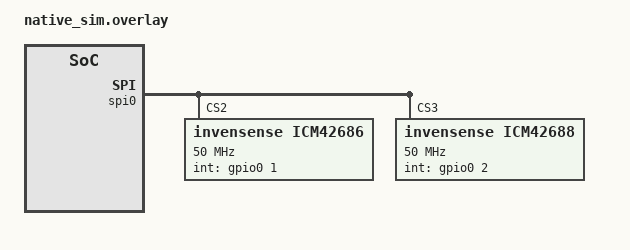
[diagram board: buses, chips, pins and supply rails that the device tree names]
/* Copyright (c) 2023 Google LLC
 * SPDX-License-Identifier: Apache-2.0
 */

#include <zephyr/dt-bindings/sensor/icm4268x.h>

&spi0 {
	icm42686: icm42686@2 {
		compatible = "invensense,icm42686";
		int-gpios = <&gpio0 1 GPIO_ACTIVE_HIGH>;
		spi-max-frequency = <50000000>;
		reg = <2>;
		accel-aaf-bw = <ICM4268X_DT_ACCEL_AAF_585HZ>;
		gyro-aaf-bw = <ICM4268X_DT_GYRO_AAF_585HZ>;
	};

	icm42688: icm42688@3 {
		compatible = "invensense,icm42688";
		int-gpios = <&gpio0 2 GPIO_ACTIVE_HIGH>;
		spi-max-frequency = <50000000>;
		reg = <3>;
		accel-aaf-bw = <ICM4268X_DT_ACCEL_AAF_585HZ>;
		gyro-aaf-bw = <ICM4268X_DT_GYRO_AAF_585HZ>;
	};
};
